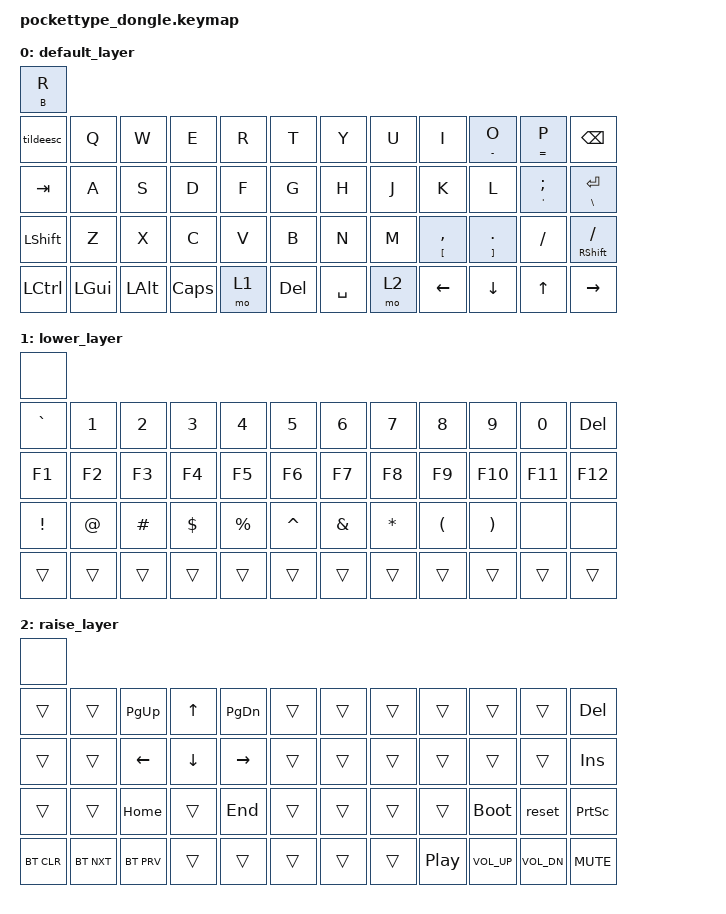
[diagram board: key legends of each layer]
/*
 * Copyright (c) 2020 The ZMK Contributors
 *
 * SPDX-License-Identifier: MIT
 */

#include <behaviors.dtsi>
#include <dt-bindings/zmk/keys.h>
#include <dt-bindings/zmk/bt.h>

/ {
	behaviors {
		rst: boot_reset {
			compatible = "zmk,behavior-hold-tap";
			label = "Hold Tap Bootloader-Reset";
			#binding-cells = <2>;
			tapping_term_ms = <150>;
			flavor = "balanced";
			bindings = <&bootloader>, <&reset>;
		};

		tildeesc: tilde_escape {
			compatible = "zmk,behavior-mod-morph";
			label = "TILDE_ESCAPE";
			#binding-cells = <0>;
			bindings = <&kp ESC>, <&kp TILDE>;
            mods = <(MOD_LSFT)>;
		};

		ht: hold_tap {
            compatible = "zmk,behavior-hold-tap";
            label = "HOLD_TAP";
            #binding-cells = <2>;
            tapping_term_ms = <150>;
            flavor = "tap-preferred";
            bindings = <&kp>, <&kp>;
        };
	};

	keymap {
		compatible = "zmk,keymap";
		
		default_layer {
			bindings = <
                &rst B R
				&tildeesc   &kp Q     &kp W    &kp E    &kp R  &kp T   &kp Y     &kp U  &kp I           &ht MINUS O  &ht EQUAL P   &kp BSPC
				&kp TAB     &kp A     &kp S    &kp D    &kp F  &kp G   &kp H     &kp J  &kp K           &kp L        &ht APOS SEMI &ht BSLH RET
				&kp LSHFT   &kp Z     &kp X    &kp C    &kp V  &kp B   &kp N     &kp M  &ht LBKT COMMA  &ht RBKT DOT &kp FSLH      &mt RSHFT FSLH
				&kp LCTRL   &kp LGUI  &kp LALT &kp CAPS &mo 1  &kp DEL &kp SPACE &mo 2  &kp LEFT        &kp DOWN     &kp UP        &kp RIGHT
			>;
		};

		lower_layer {
			bindings = <
                &none
				&kp GRAVE &kp N1 &kp N2   &kp N3   &kp N4    &kp N5    &kp N6   &kp N7    &kp N8   &kp N9   &kp N0    &kp DEL
				&kp F1    &kp F2 &kp F3   &kp F4   &kp F5    &kp F6    &kp F7   &kp F8    &kp F9   &kp F10  &kp F11   &kp F12
				&kp EXCL  &kp AT &kp HASH &kp DLLR &kp PRCNT &kp CARET &kp AMPS &kp ASTRK &kp LPAR &kp RPAR &none     &none
				&trans    &trans &trans   &trans   &trans    &trans    &trans   &trans    &trans   &trans   &trans    &trans
			>;
		};

		raise_layer {
			bindings = <
                &none
				&trans     &trans     &kp PG_UP  &kp UP   &kp PG_DN &trans  &trans &trans &trans           &trans       &trans       &kp DEL
				&trans     &trans     &kp LEFT   &kp DOWN &kp RIGHT &trans  &trans &trans &trans           &trans       &trans       &kp INSERT
				&trans     &trans     &kp HOME   &trans   &kp END   &trans  &trans &trans &trans           &bootloader  &reset       &kp PSCRN
				&bt BT_CLR &bt BT_NXT &bt BT_PRV &trans   &trans    &trans  &trans &trans &kp C_PLAY_PAUSE &kp C_VOL_UP &kp C_VOL_DN &kp C_MUTE
			>;
		};
	};
};
